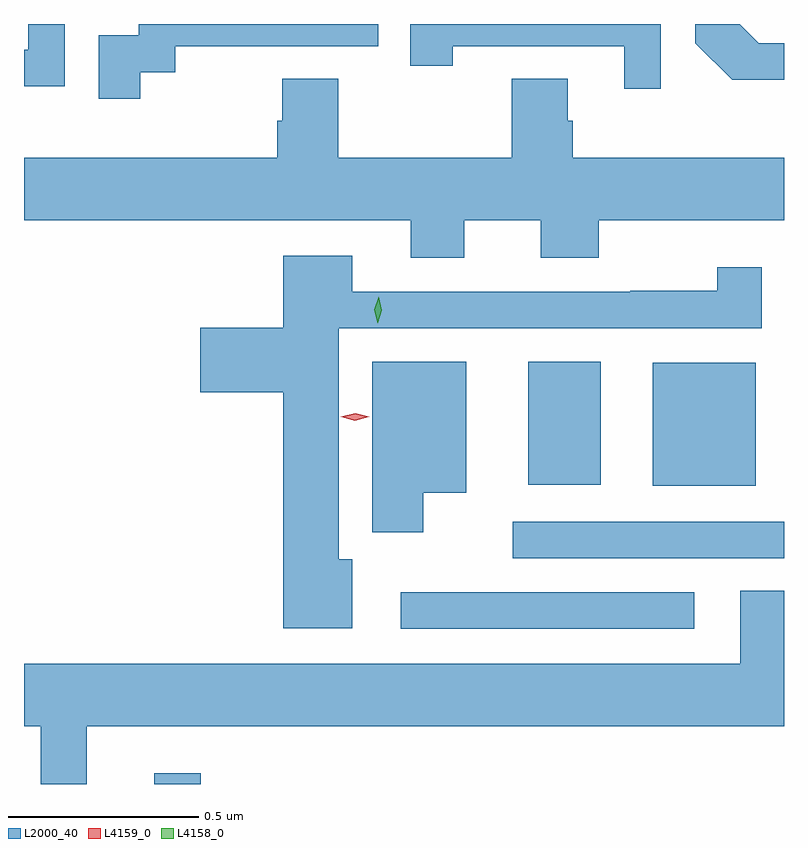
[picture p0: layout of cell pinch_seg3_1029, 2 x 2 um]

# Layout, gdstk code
import gdstk
lib = gdstk.Library(unit=1e-6, precision=1e-09)
def R(c, l, rs):  # rectangles x0, y0, x1, y1
    for r in rs: c.add(gdstk.rectangle(r[:2], r[2:], *l))
def P(c, l, *ps):  # polygons
    for p in ps: c.add(gdstk.Polygon(p, *l))
L2000_40 = (2000, 40)
L4158_0 = (4158, 0)
L4159_0 = (4159, 0)

pinch_seg3_1029 = lib.new_cell('pinch_seg3_1029')
R(pinch_seg3_1029, L2000_40, [(502.895,704.76,503.017,704.788), (503.544,705.168,504.316,705.264), (503.838,705.354,504.552,705.45), (504.206,705.545,504.478,705.868), (503.879,705.548,504.07,705.871)])
P(pinch_seg3_1029, L2000_40, [(504.552,706.71),(504.486,706.71),(504.436,706.76),(504.318,706.76),(504.318,706.71),(504.416,706.613),(504.552,706.613)],
  [(502.659,706.76),(502.563,706.76),(502.563,706.692),(502.552,706.692),(502.552,706.596),(502.659,706.596)],
  [(502.858,706.633),(502.95,706.633),(502.95,706.701),(503.484,706.701),(503.484,706.76),(502.854,706.76),(502.854,706.731),(502.749,706.731),(502.749,706.563),(502.858,706.563)],
  [(504.228,706.76),(503.569,706.76),(503.569,706.65),(503.68,706.65),(503.68,706.701),(504.131,706.701),(504.131,706.59),(504.228,706.59)],
  [(503.71,706.244),(503.912,706.244),(503.912,706.145),(504.065,706.145),(504.065,706.244),(504.552,706.244),(504.552,706.408),(503.996,706.408),(503.996,706.506),(503.983,706.506),(503.983,706.616),(503.836,706.616),(503.836,706.408),(503.379,706.408),(503.379,706.616),(503.231,706.616),(503.231,706.506),(503.219,706.506),(503.219,706.408),(502.552,706.408),(502.552,706.244),(503.57,706.244),(503.57,706.145),(503.71,706.145)],
  [(503.416,705.352),(503.38,705.352),(503.38,705.96),(504.493,705.96),(504.493,706.12),(504.376,706.12),(504.376,706.058),(504.148,706.058),(504.148,706.056),(503.416,706.056),(503.416,706.15),(503.234,706.15),(503.234,705.961),(503.016,705.961),(503.016,705.791),(503.234,705.791),(503.234,705.17),(503.416,705.17)],
  [(503.602,705.527),(503.716,705.527),(503.716,705.871),(503.468,705.871),(503.468,705.423),(503.602,705.423)],
  [(502.717,704.912),(504.552,704.912),(504.552,705.269),(504.437,705.269),(504.437,705.076),(502.552,705.076),(502.552,704.912),(502.596,704.912),(502.596,704.76),(502.717,704.76)])
P(pinch_seg3_1029, L4158_0, [(503.483,705.973),(503.483,705.973),(503.474,706.008),(503.486,706.042),(503.486,706.042),(503.486,706.042),(503.494,706.007),(503.483,705.973)])
P(pinch_seg3_1029, L4159_0, [(503.423,705.716),(503.386,705.727),(503.385,705.727),(503.386,705.727),(503.424,705.736),(503.461,705.726),(503.461,705.726),(503.461,705.726)])

lib.write_gds('pinch_seg3_1029.gds')
